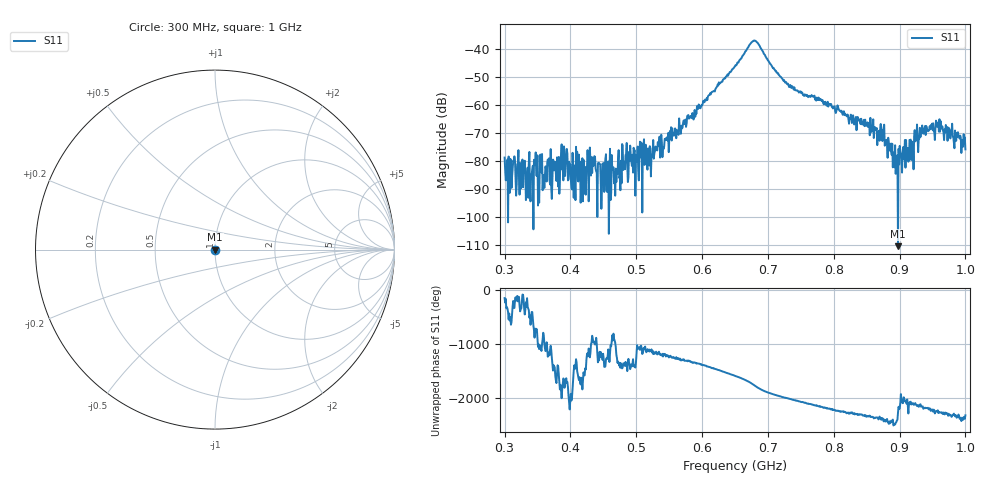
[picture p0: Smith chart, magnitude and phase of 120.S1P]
! C:\Users\rflab\Downloads\q2\120.S1P
! Touchstone 1.1 file saved by VNA.EXE V1.65 (www.ke5fx.com/gpib/readme.htm)
! 11/20/2024 11:10:50 AM
!  Source: HEWLETT PACKARD,8753D,0,6.14
!  Min freq: 3.000000E+008 Hz
!  Max freq: 1.000000E+009 Hz
!  Points: 801
!  Params: S21
# GHZ S MA R 50
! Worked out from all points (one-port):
!   801 points, 300 MHz to 1 GHz, reference 50 ohm
!   lowest |S11| = -110.5 dB at 897.6 MHz (marker M1), VSWR 1.00, Z = 50 - j0.000293 ohm
!   |S11| at or under -10 dB: start of sweep to end of sweep
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0.3  0.000115 -147.7
0.37525  6.8e-05 32.2
0.3875  7e-05 -28.0
0.398875  8.2e-05 -44.6
0.475  5.2e-05 96.2
0.482  9.1e-05 73.9
0.48375  0.000127 114.0
0.50125  9.8e-05 61.7
0.50825  0.000204 8.0
0.516125  8.5e-05 -42.2
0.52575  0.000237 -100.7
0.5625  0.000309 173.0
0.65  0.004962 -143.8
0.680625  0.01406 30.5
0.7095  0.004381 -130.0
0.7375  0.00212 134.5
0.825  0.000576 -101.0
0.8565  0.000421 -178.0
0.867  0.000332 160.6
0.873125  0.000358 158.2
0.89325  0.000191 36.6
0.897625  3e-06 -102.4
0.9125  0.000171 31.0
0.934375  0.000431 9.5
0.958875  0.000484 -110.6
0.98425  0.00035 -171.3
0.98775  0.000267 178.7
1  0.000161 -153.1
